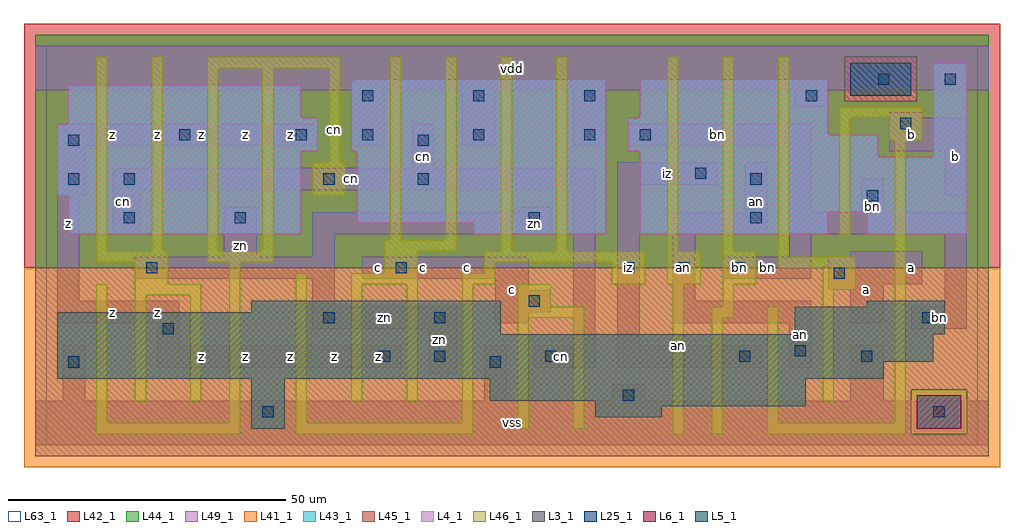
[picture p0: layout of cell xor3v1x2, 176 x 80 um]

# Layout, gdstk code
import gdstk
lib = gdstk.Library(unit=1e-6, precision=1e-09)
def R(c, l, rs):  # rectangles x0, y0, x1, y1
    for r in rs: c.add(gdstk.rectangle(r[:2], r[2:], *l))
def A(c, l, x, y, w, h, nx, ny, dx, dy):  # array of equal rectangles
    R(c, l, [(x+i*dx, y+j*dy, x+i*dx+w, y+j*dy+h) for i in range(nx) for j in range(ny)])
L3_1 = (3, 1)
L4_1 = (4, 1)
L5_1 = (5, 1)
L6_1 = (6, 1)
L25_1 = (25, 1)
L41_1 = (41, 1)
L42_1 = (42, 1)
L43_1 = (43, 1)
L44_1 = (44, 1)
L45_1 = (45, 1)
L46_1 = (46, 1)
L49_1 = (49, 1)
L63_1 = (63, 1)

xor3v1x2 = lib.new_cell('xor3v1x2')
R(xor3v1x2, L3_1, [(37,3,43,12), (99,5,111,7), (99,7,137,8), (80,8,137,12), (2,12,151,15), (2,15,160,20), (2,20,82,24), (135,20,162,25), (37,24,82,26), (148,25,162,26)])
R(xor3v1x2, L4_1, [(4,38,46,45), (77,38,101,40), (107,38,141,42), (148,38,166,42), (56,40,101,53), (107,42,166,52), (2,45,46,53), (107,52,150,53), (160,52,166,69), (2,53,49,58), (55,53,101,66), (105,53,150,56), (105,56,141,59), (4,58,49,59), (4,59,46,65), (107,59,141,66)])
R(xor3v1x2, L5_1, [(145,63,156,69)])
R(xor3v1x2, L6_1, [(157,3,165,9), (157,3,165,9)])
A(xor3v1x2, L25_1, 104, 31, 2, 2, 3, 1, 10, 0)
A(xor3v1x2, L25_1, 57, 55, 2, 2, 3, 2, 20, 7)
R(xor3v1x2, L25_1, [(39,5,41,7), (160,5,162,7), (104,8,106,10), (4,14,6,16), (80,14,82,16), (60,15,62,17), (70,15,72,17), (90,15,92,17), (125,15,127,17), (147,15,149,17), (135,16,137,18), (21,20,23,22), (50,22,52,24), (70,22,72,24), (158,22,160,24), (87,25,89,27), (142,30,144,32), (18,31,20,33), (63,31,65,33), (14,40,16,42), (34,40,36,42), (87,40,89,42), (127,40,129,42), (148,44,150,46), (4,47,6,49), (14,47,16,49), (50,47,52,49), (67,47,69,49), (127,47,129,49), (117,48,119,50), (4,54,6,56), (67,54,69,56), (24,55,26,57), (45,55,47,57), (107,55,109,57), (154,57,156,59), (137,62,139,64), (150,65,152,67), (162,65,164,67)])
R(xor3v1x2, L41_1, [(-4,-4,172,32)])
R(xor3v1x2, L42_1, [(-4,32,172,76)])
R(xor3v1x2, L43_1, [(37,3,43,12), (157,3,165,9), (99,5,111,7), (99,7,137,8), (80,8,137,12), (2,12,151,15), (2,15,160,20), (2,20,82,24), (135,20,162,25), (37,24,82,26), (148,25,162,26), (4,38,46,45), (77,38,101,40), (107,38,141,42), (148,38,166,42), (56,40,101,53), (107,42,166,52), (2,45,46,53), (107,52,150,53), (160,52,166,69), (2,53,49,58), (55,53,101,66), (105,53,150,56), (105,56,141,59), (4,58,49,59), (4,59,46,65), (107,59,141,66), (145,63,156,69)])
R(xor3v1x2, L44_1, [(156,2,166,10), (-2,32,170,62), (-2,62,144,70), (157,62,170,70), (-2,70,170,74)])
R(xor3v1x2, L45_1, [(-2,-2,170,2), (-2,2,156,10), (166,2,170,10), (-2,10,170,32), (144,62,157,70)])
R(xor3v1x2, L46_1, [(9,2,35,4), (45,2,77,4), (113,2,115,29), (120,2,122,23), (130,2,155,4), (85,3,87,23), (95,3,97,23), (9,4,11,29), (33,4,35,33), (45,4,47,31), (75,4,77,29), (130,4,132,25), (153,4,155,55), (16,8,18,27), (26,8,28,27), (55,8,57,29), (65,8,67,29), (140,8,142,28), (85,23,97,25), (120,23,124,25), (85,25,91,29), (122,25,124,29), (16,27,28,29), (140,28,146,32), (16,29,22,33), (55,29,67,31), (75,29,81,31), (102,29,108,33), (112,29,118,35), (122,29,128,35), (61,31,67,35), (79,31,81,33), (132,32,146,34), (9,33,22,35), (29,33,41,35), (79,33,108,35), (132,34,134,70), (9,35,11,70), (19,35,21,70), (29,35,31,68), (39,35,41,68), (61,35,74,37), (82,35,84,70), (92,35,94,70), (112,35,114,70), (122,35,124,70), (62,37,64,70), (72,37,74,70), (143,38,145,59), (48,45,54,51), (51,51,53,68), (152,55,158,59), (143,59,158,61), (29,68,53,70)])
A(xor3v1x2, L49_1, 55, 54, 6, 10, 3, 1, 20, 0)
R(xor3v1x2, L49_1, [(-2,0,170,8), (3,8,7,18), (79,8,83,18), (102,8,108,11), (145,8,151,18), (69,13,74,21), (20,14,64,18), (88,14,99,18), (103,14,129,18), (134,14,138,22), (20,18,24,22), (95,18,99,46), (103,18,107,47), (48,21,74,25), (156,21,166,25), (2,22,24,26), (81,22,87,24), (113,22,138,26), (145,22,151,28), (81,24,91,28), (48,25,52,30), (162,25,166,38), (2,26,6,45), (113,26,117,38), (81,28,87,30), (141,28,151,29), (141,29,158,34), (16,30,52,34), (57,30,87,34), (122,30,138,34), (32,34,38,43), (48,34,52,38), (134,34,138,38), (145,34,158,35), (12,38,17,46), (48,38,91,42), (113,38,130,42), (134,38,166,42), (85,42,91,43), (126,42,130,51), (134,42,138,54), (147,42,151,48), (2,45,7,54), (162,45,166,53), (12,46,99,50), (103,47,121,51), (66,50,70,58), (152,53,166,59), (2,54,49,58), (105,54,138,58), (152,59,158,60), (135,61,141,64), (-2,64,170,72)])
R(xor3v1x2, L63_1, [(0,0,168,72)])
xor3v1x2.add(gdstk.Label('cn', (52,57), layer=46, texttype=1))
xor3v1x2.add(gdstk.Label('an', (114,18), layer=46, texttype=1))
xor3v1x2.add(gdstk.Label('iz', (105,32), layer=49, texttype=1))
xor3v1x2.add(gdstk.Label('bn', (125,32), layer=49, texttype=1))
xor3v1x2.add(gdstk.Label('z', (28,16), layer=49, texttype=1))
xor3v1x2.add(gdstk.Label('z', (20,24), layer=49, texttype=1))
xor3v1x2.add(gdstk.Label('z', (12,24), layer=49, texttype=1))
xor3v1x2.add(gdstk.Label('z', (4,40), layer=49, texttype=1))
xor3v1x2.add(gdstk.Label('cn', (14,44), layer=49, texttype=1))
xor3v1x2.add(gdstk.Label('z', (12,56), layer=49, texttype=1))
xor3v1x2.add(gdstk.Label('z', (20,56), layer=49, texttype=1))
xor3v1x2.add(gdstk.Label('z', (28,56), layer=49, texttype=1))
xor3v1x2.add(gdstk.Label('z', (36,16), layer=49, texttype=1))
xor3v1x2.add(gdstk.Label('z', (44,16), layer=49, texttype=1))
xor3v1x2.add(gdstk.Label('z', (52,16), layer=49, texttype=1))
xor3v1x2.add(gdstk.Label('z', (60,16), layer=49, texttype=1))
xor3v1x2.add(gdstk.Label('c', (60,32), layer=49, texttype=1))
xor3v1x2.add(gdstk.Label('zn', (35,36), layer=49, texttype=1))
xor3v1x2.add(gdstk.Label('z', (36,56), layer=49, texttype=1))
xor3v1x2.add(gdstk.Label('z', (44,56), layer=49, texttype=1))
xor3v1x2.add(gdstk.Label('vss', (84,4), layer=49, texttype=1))
xor3v1x2.add(gdstk.Label('zn', (71,19), layer=49, texttype=1))
xor3v1x2.add(gdstk.Label('cn', (93,16), layer=49, texttype=1))
xor3v1x2.add(gdstk.Label('zn', (61,23), layer=49, texttype=1))
xor3v1x2.add(gdstk.Label('c', (76,32), layer=49, texttype=1))
xor3v1x2.add(gdstk.Label('c', (84,28), layer=49, texttype=1))
xor3v1x2.add(gdstk.Label('c', (68,32), layer=49, texttype=1))
xor3v1x2.add(gdstk.Label('zn', (88,40), layer=49, texttype=1))
xor3v1x2.add(gdstk.Label('cn', (55,48), layer=49, texttype=1))
xor3v1x2.add(gdstk.Label('cn', (68,52), layer=49, texttype=1))
xor3v1x2.add(gdstk.Label('vdd', (84,68), layer=49, texttype=1))
xor3v1x2.add(gdstk.Label('iz', (116,16), layer=49, texttype=1))
xor3v1x2.add(gdstk.Label('an', (115,32), layer=49, texttype=1))
xor3v1x2.add(gdstk.Label('an', (128,44), layer=49, texttype=1))
xor3v1x2.add(gdstk.Label('iz', (105,32), layer=49, texttype=1))
xor3v1x2.add(gdstk.Label('iz', (112,49), layer=49, texttype=1))
xor3v1x2.add(gdstk.Label('an', (136,20), layer=49, texttype=1))
xor3v1x2.add(gdstk.Label('bn', (161,23), layer=49, texttype=1))
xor3v1x2.add(gdstk.Label('a', (148,28), layer=49, texttype=1))
xor3v1x2.add(gdstk.Label('a', (156,32), layer=49, texttype=1))
xor3v1x2.add(gdstk.Label('bn', (130,32), layer=49, texttype=1))
xor3v1x2.add(gdstk.Label('bn', (149,43), layer=49, texttype=1))
xor3v1x2.add(gdstk.Label('b', (164,52), layer=49, texttype=1))
xor3v1x2.add(gdstk.Label('b', (156,56), layer=49, texttype=1))
xor3v1x2.add(gdstk.Label('bn', (121,56), layer=49, texttype=1))

lib.write_gds('xor3v1x2.gds')
